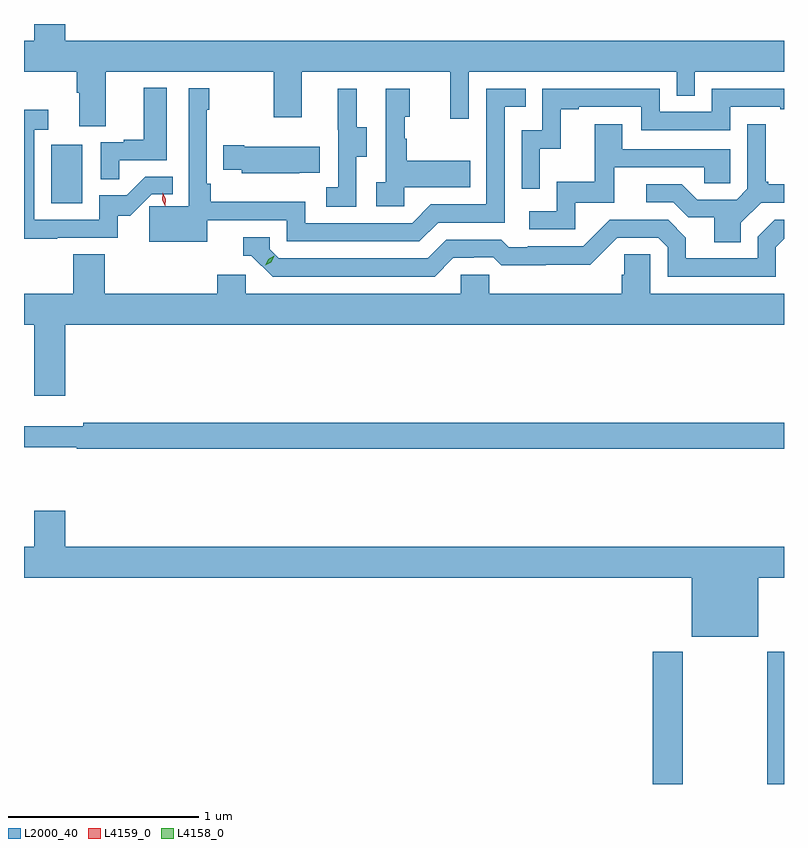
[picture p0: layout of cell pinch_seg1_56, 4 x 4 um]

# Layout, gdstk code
import gdstk
lib = gdstk.Library(unit=1e-6, precision=1e-09)
def R(c, l, rs):  # rectangles x0, y0, x1, y1
    for r in rs: c.add(gdstk.rectangle(r[:2], r[2:], *l))
def P(c, l, *ps):  # polygons
    for p in ps: c.add(gdstk.Polygon(p, *l))
L2000_40 = (2000, 40)
L4158_0 = (4158, 0)
L4159_0 = (4159, 0)

pinch_seg1_56 = lib.new_cell('pinch_seg1_56')
R(pinch_seg1_56, L2000_40, [(1067.363,565.299,1067.523,565.996), (1067.968,565.299,1068.055,565.996), (1064.198,568.356,1064.362,568.663)])
P(pinch_seg1_56, L2000_40, [(1064.272,569.299),(1064.108,569.299),(1064.108,569.212),(1064.055,569.212),(1064.055,569.048),(1064.333,569.048),(1064.333,568.936),(1064.345,568.936),(1064.345,568.762),(1064.485,568.762),(1064.485,569.048),(1065.37,569.048),(1065.37,568.809),(1065.517,568.809),(1065.517,569.048),(1066.298,569.048),(1066.298,568.8),(1066.395,568.8),(1066.395,569.048),(1067.49,569.048),(1067.49,568.921),(1067.586,568.921),(1067.586,569.048),(1068.055,569.048),(1068.055,569.212),(1064.272,569.212)],
  [(1064.555,568.581),(1064.806,568.581),(1064.806,568.963),(1064.684,568.963),(1064.684,568.69),(1064.581,568.69),(1064.581,568.677),(1064.46,568.677),(1064.46,568.483),(1064.555,568.483)],
  [(1065.019,568.266),(1065.438,568.266),(1065.438,568.155),(1066.135,568.155),(1066.234,568.254),(1066.584,568.254),(1066.584,568.863),(1066.697,568.863),(1066.697,568.959),(1066.488,568.959),(1066.488,568.35),(1066.197,568.35),(1066.098,568.251),(1065.534,568.251),(1065.534,568.363),(1065.038,568.363),(1065.038,568.459),(1065.018,568.459),(1065.018,568.847),(1065.031,568.847),(1065.031,568.96),(1064.922,568.96),(1064.922,568.339),(1064.714,568.339),(1064.714,568.154),(1065.019,568.154)],
  [(1066.77,568.643),(1066.88,568.643),(1066.88,568.851),(1066.975,568.851),(1066.975,568.863),(1067.304,568.863),(1067.304,568.74),(1067.772,568.74),(1067.772,568.863),(1068.035,568.863),(1068.035,568.851),(1068.055,568.851),(1068.055,568.959),(1067.676,568.959),(1067.676,568.836),(1067.4,568.836),(1067.4,568.959),(1066.782,568.959),(1066.782,568.74),(1066.674,568.74),(1066.674,568.431),(1066.77,568.431)],
  [(1066.056,568.439),(1066.403,568.439),(1066.403,568.579),(1066.069,568.579),(1066.069,568.694),(1066.059,568.694),(1066.059,568.812),(1066.084,568.812),(1066.084,568.957),(1065.96,568.957),(1065.96,568.466),(1065.909,568.466),(1065.909,568.341),(1066.056,568.341)],
  [(1065.804,568.6),(1065.859,568.6),(1065.859,568.755),(1065.805,568.755),(1065.805,568.957),(1065.707,568.957),(1065.707,568.743),(1065.708,568.743),(1065.708,568.439),(1065.645,568.439),(1065.645,568.336),(1065.804,568.336)],
  [(1064.231,568.173),(1064.548,568.173),(1064.548,568.29),(1064.613,568.29),(1064.727,568.404),(1064.837,568.404),(1064.837,568.496),(1064.694,568.496),(1064.596,568.398),(1064.451,568.398),(1064.451,568.269),(1064.109,568.269),(1064.109,568.743),(1064.182,568.743),(1064.182,568.849),(1064.055,568.849),(1064.055,568.168),(1064.231,568.168)],
  [(1066.956,568.359),(1067.161,568.359),(1067.161,568.545),(1067.635,568.545),(1067.635,568.461),(1067.772,568.461),(1067.772,568.641),(1067.203,568.641),(1067.203,568.771),(1067.059,568.771),(1067.059,568.468),(1066.86,568.468),(1066.86,568.314),(1066.713,568.314),(1066.713,568.218),(1066.956,568.218)],
  [(1067.827,568.252),(1067.934,568.359),(1068.055,568.359),(1068.055,568.456),(1067.971,568.456),(1067.971,568.468),(1067.959,568.468),(1067.959,568.771),(1067.862,568.771),(1067.862,568.431),(1067.805,568.374),(1067.599,568.374),(1067.518,568.455),(1067.331,568.455),(1067.331,568.362),(1067.472,568.362),(1067.552,568.282),(1067.687,568.282),(1067.687,568.15),(1067.827,568.15)],
  [(1065.503,568.517),(1065.611,568.517),(1065.611,568.654),(1065.214,568.654),(1065.214,568.662),(1065.103,568.662),(1065.103,568.532),(1065.201,568.532),(1065.201,568.514),(1065.503,568.514)],
  [(1066.315,568.068),(1066.422,568.068),(1066.422,568.071),(1066.525,568.071),(1066.567,568.029),(1066.8,568.029),(1066.8,568.031),(1067.036,568.031),(1067.178,568.173),(1067.394,568.173),(1067.442,568.125),(1067.442,567.969),(1068.012,567.969),(1068.012,568.125),(1068.055,568.168),(1068.055,568.269),(1068.006,568.269),(1067.916,568.179),(1067.916,568.065),(1067.539,568.065),(1067.539,568.175),(1067.445,568.269),(1067.139,568.269),(1066.998,568.128),(1066.705,568.128),(1066.705,568.125),(1066.606,568.125),(1066.567,568.164),(1066.278,568.164),(1066.179,568.065),(1065.396,568.065),(1065.348,568.113),(1065.348,568.176),(1065.209,568.176),(1065.209,568.08),(1065.252,568.08),(1065.363,567.969),(1066.216,567.969)],
  [(1064.272,567.716),(1068.055,567.716),(1068.055,567.88),(1067.352,567.88),(1067.352,568.088),(1067.215,568.088),(1067.215,567.978),(1067.201,567.978),(1067.201,567.88),(1066.503,567.88),(1066.503,567.978),(1066.353,567.978),(1066.353,567.88),(1065.222,567.88),(1065.222,567.978),(1065.071,567.978),(1065.071,567.88),(1064.48,567.88),(1064.48,568.088),(1064.315,568.088),(1064.315,567.88),(1064.055,567.88),(1064.055,567.716),(1064.108,567.716),(1064.108,567.342),(1064.272,567.342)],
  [(1068.055,567.2),(1064.368,567.2),(1064.368,567.181),(1064.055,567.181),(1064.055,567.072),(1064.332,567.072),(1064.332,567.064),(1068.055,567.064)],
  [(1067.92,566.384),(1068.055,566.384),(1068.055,566.548),(1064.272,566.548),(1064.272,566.737),(1064.108,566.737),(1064.108,566.548),(1064.055,566.548),(1064.055,566.384),(1067.57,566.384),(1067.57,566.075),(1067.92,566.075)])
P(pinch_seg1_56, L4158_0, [(1065.324,568.028),(1065.324,568.028),(1065.341,568.06),(1065.372,568.079),(1065.372,568.079),(1065.372,568.079),(1065.355,568.046),(1065.324,568.028)])
P(pinch_seg1_56, L4159_0, [(1064.798,568.339),(1064.798,568.339),(1064.782,568.373),(1064.784,568.411),(1064.784,568.411),(1064.785,568.411),(1064.801,568.377),(1064.798,568.339)])

lib.write_gds('pinch_seg1_56.gds')
